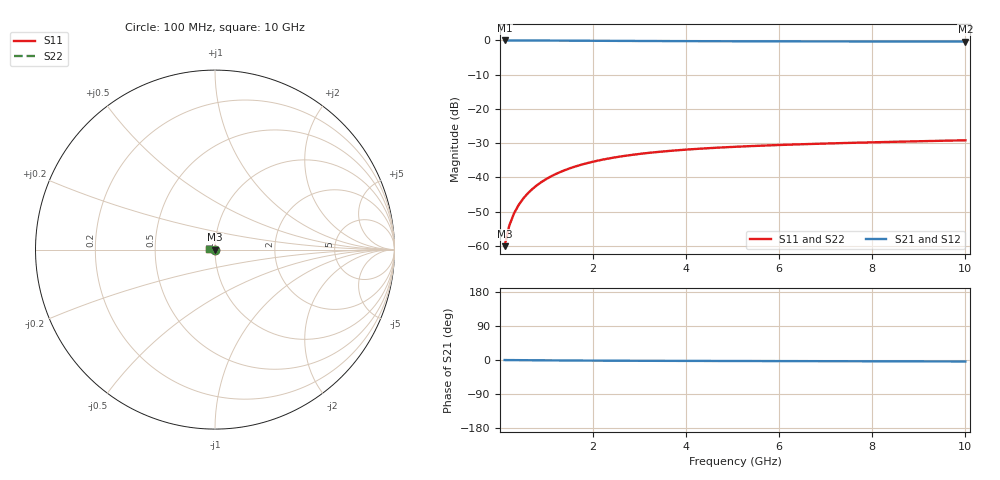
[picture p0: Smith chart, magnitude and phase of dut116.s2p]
! Touchstone file exported from HFSS 2024.1.0
!  File:  C:/UserFiles/LocalFiles/RDL_TSV_Batchsim/temp_TSV1_116_1778752834.aedt
!  Generated:  06:08:50 PM May 14, 2026
!  Design:  TSV1
!  Project:  temp_TSV1_116_1778752834
!  Setup:  Setup1
!  Solution:  Sweep
! Variables:
!  dtsv = 12.42um
!  hbump = 3um
!  htsv = 55.72um
!  lrdl = 252.1521522um
!  p = 40
!  p1 = 59.36um
!  t = 500um
!  trdl = 3um
!  wrdl = 24.89489489um
# GHz S MA R 50.000000
! Terminal data exported
! Port[1] = TSV22_T1
! Port[2] = TSV22_T2
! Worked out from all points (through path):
!   100 points, 100 MHz to 10 GHz, reference 50 ohm
!   highest |S21| = 0.00 dB at 100 MHz (marker M1); lowest = -0.3 dB at 10 GHz (marker M2)
!   lowest |S11| = -60.1 dB at 100 MHz (marker M3), VSWR 1.00, Z = 50 - j0.0988 ohm
!   |S11| at or under -10 dB: start of sweep to end of sweep
!   |S22| runs from -60.1 to -29.2 dB; largest |S21 - S12| = 1.4e-14
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0.1  0.0009892 -87.8  0.9999 -0.1  0.9999 -0.1  0.0009892 -87.8
! Gamma 0 0 0 0
! Port Impedance 50 0 50 0
0.2  0.001974 -91.8  0.9998 -0.2  0.9998 -0.2  0.001974 -91.8
0.3  0.002959 -94.5  0.9996 -0.3  0.9996 -0.3  0.002959 -94.5
0.4  0.003937 -96.9  0.9993 -0.4  0.9993 -0.4  0.003937 -96.9
0.5  0.004907 -99.2  0.999 -0.5  0.999 -0.5  0.004907 -99.2
0.6  0.005863 -101.4  0.9986 -0.6  0.9986 -0.6  0.005863 -101.4
0.7  0.006804 -103.5  0.9981 -0.7  0.9981 -0.7  0.006804 -103.5
0.8  0.007727 -105.6  0.9977 -0.8  0.9977 -0.8  0.007727 -105.6
0.9  0.008629 -107.6  0.9971 -0.9  0.9971 -0.9  0.008629 -107.6
1.1  0.01037 -111.6  0.9959 -1.0  0.9959 -1.0  0.01037 -111.6
1.4  0.01279 -117.2  0.9939 -1.2  0.9939 -1.2  0.01279 -117.2
1.6  0.01428 -120.7  0.9924 -1.4  0.9924 -1.4  0.01428 -120.7
1.8  0.01566 -124.1  0.991 -1.5  0.991 -1.5  0.01566 -124.1
2.1  0.01755 -128.8  0.9887 -1.7  0.9887 -1.7  0.01755 -128.8
2.5  0.01973 -134.6  0.9859 -1.9  0.9859 -1.9  0.01973 -134.6
2.9  0.02159 -139.9  0.9832 -2.0  0.9832 -2.0  0.02159 -139.9
3.4  0.02354 -145.8  0.9802 -2.2  0.9802 -2.2  0.02354 -145.8
4.2  0.02598 -153.8  0.9763 -2.4  0.9763 -2.4  0.02598 -153.8
5.1  0.02806 -161.5  0.9729 -2.7  0.9729 -2.7  0.02806 -161.5
6.7  0.03079 -172.4  0.9687 -3.1  0.9687 -3.1  0.03079 -172.4
8.4  0.033 178.3  0.9659 -3.5  0.9659 -3.5  0.033 178.3
10  0.03481 170.9  0.9641 -3.9  0.9641 -3.9  0.03481 170.9
